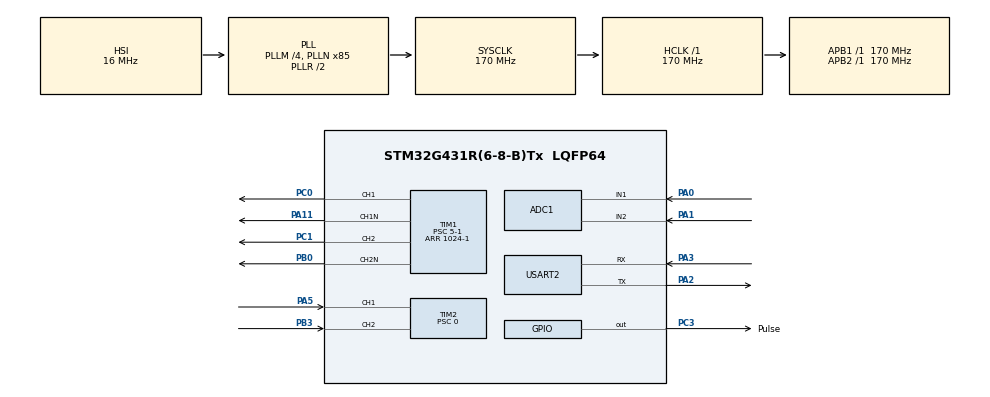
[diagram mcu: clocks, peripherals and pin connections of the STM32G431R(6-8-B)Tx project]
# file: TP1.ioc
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ADC1.Channel-6\#ChannelRegularConversion=ADC_CHANNEL_1
ADC1.ClockPrescaler=ADC_CLOCK_ASYNC_DIV8
ADC1.ExternalTrigConv=ADC_EXTERNALTRIG_T1_TRGO2
ADC1.NbrOfConversion=1
ADC1.NbrOfConversionFlag=1
ADC1.OffsetNumber-6\#ChannelRegularConversion=ADC_OFFSET_NONE
ADC1.Rank-6\#ChannelRegularConversion=1
ADC1.SamplingTime-6\#ChannelRegularConversion=ADC_SAMPLETIME_2CYCLES_5
ADC1.master=1
Dma.ADC1.0.Direction=DMA_PERIPH_TO_MEMORY
Dma.ADC1.0.EventEnable=DISABLE
Dma.ADC1.0.Instance=DMA1_Channel1
Dma.ADC1.0.MemDataAlignment=DMA_MDATAALIGN_HALFWORD
Dma.ADC1.0.MemInc=DMA_MINC_ENABLE
Dma.ADC1.0.Mode=DMA_NORMAL
Dma.ADC1.0.PeriphDataAlignment=DMA_PDATAALIGN_HALFWORD
Dma.ADC1.0.PeriphInc=DMA_PINC_DISABLE
Dma.ADC1.0.Polarity=HAL_DMAMUX_REQ_GEN_RISING
Dma.ADC1.0.Priority=DMA_PRIORITY_LOW
Dma.ADC1.0.RequestNumber=1
Dma.ADC1.0.SignalID=NONE
Dma.ADC1.0.SyncEnable=DISABLE
Dma.ADC1.0.SyncPolarity=HAL_DMAMUX_SYNC_NO_EVENT
Dma.ADC1.0.SyncRequestNumber=1
Dma.ADC1.0.SyncSignalID=NONE
Dma.Request0=ADC1
Mcu.Family=STM32G4
Mcu.Name=STM32G431R(6-8-B)Tx
Mcu.Package=LQFP64
NVIC.DMA1_Channel1_IRQn=true\:0\:0\:false\:false\:true\:false\:true
NVIC.PriorityGroup=NVIC_PRIORITYGROUP_4
NVIC.TIM2_IRQn=true\:0\:0\:false\:false\:true\:true\:true
NVIC.TIM4_IRQn=true\:0\:0\:false\:false\:true\:true\:true
NVIC.USART2_IRQn=true\:0\:0\:false\:false\:true\:true\:true
PA0.Mode=IN1-Single-Ended
PA0.Signal=ADC1_IN1
PA1.Mode=IN2-Single-Ended
PA1.Signal=ADC1_IN2
PA11.Mode=PWM Generation1 CH1 CH1N
PA11.Signal=TIM1_CH1N
PA13.Mode=Serial_Wire
PA13.Signal=SYS_JTMS-SWDIO
PA14.Mode=Serial_Wire
PA14.Signal=SYS_JTCK-SWCLK
PA2.Mode=Asynchronous
PA2.Signal=USART2_TX
PA3.Mode=Asynchronous
PA3.Signal=USART2_RX
PA5.Signal=S_TIM2_CH1
PB0.Mode=PWM Generation2 CH2 CH2N
PB0.Signal=TIM1_CH2N
PB3.Signal=S_TIM2_CH2
PC0.Signal=S_TIM1_CH1
PC1.Signal=S_TIM1_CH2
PC3.GPIO_Label=Pulse
PC3.Signal=GPIO_Output
PF0-OSC_IN.Mode=HSE-External-Oscillator
PF0-OSC_IN.Signal=RCC_OSC_IN
PF1-OSC_OUT.Mode=HSE-External-Oscillator
PF1-OSC_OUT.Signal=RCC_OSC_OUT
ProjectManager.HeapSize=0x200
ProjectManager.StackSize=0x400
ProjectManager.TargetToolchain=STM32CubeIDE
RCC.ADC12Freq_Value=170000000
RCC.AHBFreq_Value=170000000
RCC.APB1Freq_Value=170000000
RCC.APB1TimFreq_Value=170000000
RCC.APB2Freq_Value=170000000
RCC.APB2TimFreq_Value=170000000
RCC.CortexFreq_Value=170000000
RCC.EXTERNAL_CLOCK_VALUE=12288000
RCC.HCLKFreq_Value=170000000
RCC.HSE_VALUE=24000000
RCC.HSI48_VALUE=48000000
RCC.HSI_VALUE=16000000
RCC.LSE_VALUE=32768
RCC.PLLM=RCC_PLLM_DIV4
RCC.PLLN=85
RCC.RTCClockSelection=RCC_RTCCLKSOURCE_LSE
RCC.SYSCLKFreq_VALUE=170000000
RCC.SYSCLKSource=RCC_SYSCLKSOURCE_PLLCLK
RCC.USBFreq_Value=170000000
RCC.VCOOutputFreq_Value=340000000
SH.S_TIM1_CH1.0=TIM1_CH1,PWM Generation1 CH1 CH1N
SH.S_TIM1_CH2.0=TIM1_CH2,PWM Generation2 CH2 CH2N
SH.S_TIM2_CH1.0=TIM2_CH1,Encoder_Interface
SH.S_TIM2_CH2.0=TIM2_CH2,Encoder_Interface
TIM1.Channel-PWM\ Generation1\ CH1\ CH1N=TIM_CHANNEL_1
TIM1.Channel-PWM\ Generation2\ CH2\ CH2N=TIM_CHANNEL_2
TIM1.CounterMode=TIM_COUNTERMODE_CENTERALIGNED1
TIM1.DeadTime=203
TIM1.PeriodNoDither=1024-1
TIM1.Prescaler=5-1
TIM1.PulseNoDither_1=532
TIM1.PulseNoDither_2=492
TIM1.TIM_MasterOutputTrigger=TIM_TRGO_UPDATE
TIM1.TIM_MasterSlaveMode=TIM_MASTERSLAVEMODE_ENABLE
TIM2.AutoReloadPreload=TIM_AUTORELOAD_PRELOAD_ENABLE
TIM2.EncoderMode=TIM_ENCODERMODE_TI12
TIM2.PeriodNoDither=65535
TIM2.Prescaler=0
TIM4.PeriodNoDither=1000-1
TIM4.Prescaler=170-1
USART2.VirtualMode-Asynchronous=VM_ASYNC
VP_SYS_VS_DBSignals.Mode=DisableDeadBatterySignals
VP_TIM4_VS_ClockSourceINT.Mode=Internal
board=NUCLEO-G431RB

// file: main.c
/* USER CODE BEGIN Header */
/**
  ******************************************************************************
  * @file           : main.c
  * @brief          : Main program body
  ******************************************************************************
  * @attention
  *
  * <h2><center>&copy; Copyright (c) 2021 STMicroelectronics.
  * All rights reserved.</center></h2>
  *
  * This software component is licensed by ST under BSD 3-Clause license,
  * the "License"; You may not use this file except in compliance with the
  * License. You may obtain a copy of the License at:
  *                        opensource.org/licenses/BSD-3-Clause
  *
  ******************************************************************************
  */
/* USER CODE END Header */
#include "main.h"

/* USER CODE BEGIN Includes */
#include <stdio.h>

#include "fonction.h"
/* USER CODE END Includes */

/* USER CODE BEGIN PTD */
#define ADC_BUF_SIZE 2 //on définie la taille maximale du buffer du ADC.
/* USER CODE END PTD */

ADC_HandleTypeDef hadc1;
DMA_HandleTypeDef hdma_adc1;

TIM_HandleTypeDef htim1;
TIM_HandleTypeDef htim2;
TIM_HandleTypeDef htim4;

UART_HandleTypeDef huart2;

/* USER CODE BEGIN PV */

uint16_t ADC_buffer[ADC_BUF_SIZE]; //on définie le buffer du ADC

char uart_rx_echo; //la variable uart_tx_echo contient le caractère de réception pour l'écho
const uint8_t starting_message[] = "Hello in your console \r\n"; //On stocke le message de démarrage dans la liste starting_message
const uint8_t prompt[]="<user>@Nucleo-G431 >> "; //cela affiche le prompt après chaque instruction
int it_uart_rx_ready; //on définie le flag qui vaut 1 dès qu'on entre un caractère sur clavier
int idxCmd = 0; //contient l'index du prochain caractère à remplir dans le tableau cmd
char cmd[CMD_BUFFER_SIZE]; //on initialise le tableau <<cmd>> contenant les chaines de caractère à afficher

//Pour calculer la vitesse de rotation, on a besoin de la position actuelle et de la position précédente
int16_t speed = 0; //vitesse
int16_t position = 0; //la position actuelle
int16_t old_position = 0; //la position à l'instant précédent
/* USER CODE END PV */

void SystemClock_Config(void);
static void MX_GPIO_Init(void);
static void MX_USART2_UART_Init(void);
static void MX_TIM1_Init(void);
static void MX_DMA_Init(void);
static void MX_ADC1_Init(void);
static void MX_TIM2_Init(void);
static void MX_TIM4_Init(void);

int main(void)
{
  /* USER CODE BEGIN 1 */
	uint16_t raw;
	char msg[32];
  /* USER CODE END 1 */

  /* MCU Configuration--------------------------------------------------------*/

  /* Reset of all peripherals, Initializes the Flash interface and the Systick. */
  HAL_Init();

  /* Configure the system clock */
  SystemClock_Config();

  /* Initialize all configured peripherals */
  MX_GPIO_Init();
  MX_USART2_UART_Init();
  MX_TIM1_Init();
  MX_DMA_Init();
  MX_ADC1_Init();
  MX_TIM2_Init();
  MX_TIM4_Init();
  /* USER CODE BEGIN 2 */

  //démarrer l'encodeur:
  //on utilise TIM_CHANNEL_ALL car on a deux channels
  HAL_TIM_Encoder_Start(&htim2, TIM_CHANNEL_ALL);

  //on calibre le ADC:
  if(HAL_OK != HAL_ADCEx_Calibration_Start(&hadc1, ADC_SINGLE_ENDED ))
  	  Error_Handler();
  //démarrer le ADC
  if(HAL_OK != HAL_ADC_Start_DMA(&hadc1, ADC_buffer , ADC_BUF_SIZE))
	  Error_Handler();
  if(HAL_OK != HAL_TIM_Base_Start(&htim1))
	  Error_Handler();

  //On affiche le message de démarrage lorsqu'on ouvre la console:
  HAL_UART_Transmit(&huart2, &starting_message, sizeof(starting_message), HAL_MAX_DELAY);
  HAL_UART_Receive_IT(&huart2, &uart_rx_echo, 1); //autoriser les interruptions et mettre la variable dans huart_rx_echo

  //démarrer la PWM:
  HAL_TIM_PWM_Start(&htim1, TIM_CHANNEL_1);
  HAL_TIM_PWM_Start(&htim1, TIM_CHANNEL_2);
  HAL_TIMEx_PWMN_Start(&htim1, TIM_CHANNEL_1);
  HAL_TIMEx_PWMN_Start(&htim1, TIM_CHANNEL_2);

  //régler le rapport cyclique du moteur:
  double alpha = 0.5;
  TIM1->CCR1 = (int)(alpha*1024);
  TIM1->CCR2 = (int)((1-alpha)*1024);

  /* USER CODE END 2 */

  /* Infinite loop */
  /* USER CODE BEGIN WHILE */
  while (1)
  {
	 /*On vérifie si un caractère est envoyé à la carte
	 Si c'est le cas, alors on peut entrer dans la condition if
	 car le flag est mis à 1 dans la fonction HAL_UART_RxCpltCallback*/
	 if(it_uart_rx_ready == 1){
		 gestion_shell(cmd, uart_rx_echo, &idxCmd, huart2); //on appelle notre fonction pour gérer le shell
		 //HAL_UART_Transmit(&huart2, cmd, sizeof(cmd), HAL_MAX_DELAY); //on envoie notre chaine de caractère à la console
		 it_uart_rx_ready = 0; //on remet notre flag à 0

	/*
	//test pour vérifier le fonctionnement du capteur Hall:
	double value = atoi(ADC_buffer); //on récupère notre buffer
	//12A/V with 2,5V = 0A ==> I(U) = 12,5A/V *U - 30A:
	double current = value * 12.5 -30; //on fait la conversion en ampère
	uint8_t data[32];
	sprintf(data, "courant = %d A\n\r", (int)current);
	//on affiche la valeur récupérée à la console:
	HAL_UART_Transmit(&huart2, data, sizeof(data), HAL_MAX_DELAY);
	 */
	 }
    /* USER CODE END WHILE */

  }
}

void SystemClock_Config(void)
{
  RCC_OscInitTypeDef RCC_OscInitStruct = {0};
  RCC_ClkInitTypeDef RCC_ClkInitStruct = {0};
  RCC_PeriphCLKInitTypeDef PeriphClkInit = {0};

  /** Configure the main internal regulator output voltage
  */
  HAL_PWREx_ControlVoltageScaling(PWR_REGULATOR_VOLTAGE_SCALE1_BOOST);
  /** Initializes the RCC Oscillators according to the specified parameters
  * in the RCC_OscInitTypeDef structure.
  */
  RCC_OscInitStruct.OscillatorType = RCC_OSCILLATORTYPE_HSI;
  RCC_OscInitStruct.HSIState = RCC_HSI_ON;
  RCC_OscInitStruct.HSICalibrationValue = RCC_HSICALIBRATION_DEFAULT;
  RCC_OscInitStruct.PLL.PLLState = RCC_PLL_ON;
  RCC_OscInitStruct.PLL.PLLSource = RCC_PLLSOURCE_HSI;
  RCC_OscInitStruct.PLL.PLLM = RCC_PLLM_DIV4;
  RCC_OscInitStruct.PLL.PLLN = 85;
  RCC_OscInitStruct.PLL.PLLP = RCC_PLLP_DIV2;
  RCC_OscInitStruct.PLL.PLLQ = RCC_PLLQ_DIV2;
  RCC_OscInitStruct.PLL.PLLR = RCC_PLLR_DIV2;
  if (HAL_RCC_OscConfig(&RCC_OscInitStruct) != HAL_OK)
  {
    Error_Handler();
  }
  /** Initializes the CPU, AHB and APB buses clocks
  */
  RCC_ClkInitStruct.ClockType = RCC_CLOCKTYPE_HCLK|RCC_CLOCKTYPE_SYSCLK
                              |RCC_CLOCKTYPE_PCLK1|RCC_CLOCKTYPE_PCLK2;
  RCC_ClkInitStruct.SYSCLKSource = RCC_SYSCLKSOURCE_PLLCLK;
  RCC_ClkInitStruct.AHBCLKDivider = RCC_SYSCLK_DIV1;
  RCC_ClkInitStruct.APB1CLKDivider = RCC_HCLK_DIV1;
  RCC_ClkInitStruct.APB2CLKDivider = RCC_HCLK_DIV1;

  if (HAL_RCC_ClockConfig(&RCC_ClkInitStruct, FLASH_LATENCY_4) != HAL_OK)
  {
    Error_Handler();
  }
  /** Initializes the peripherals clocks
  */
  PeriphClkInit.PeriphClockSelection = RCC_PERIPHCLK_USART2|RCC_PERIPHCLK_ADC12;
  PeriphClkInit.Usart2ClockSelection = RCC_USART2CLKSOURCE_PCLK1;
  PeriphClkInit.Adc12ClockSelection = RCC_ADC12CLKSOURCE_SYSCLK;
  if (HAL_RCCEx_PeriphCLKConfig(&PeriphClkInit) != HAL_OK)
  {
    Error_Handler();
  }
}

static void MX_ADC1_Init(void)
{

  ADC_MultiModeTypeDef multimode = {0};
  ADC_ChannelConfTypeDef sConfig = {0};

  /** Common config
  */
  hadc1.Instance = ADC1;
  hadc1.Init.ClockPrescaler = ADC_CLOCK_ASYNC_DIV8;
  hadc1.Init.Resolution = ADC_RESOLUTION_12B;
  hadc1.Init.DataAlign = ADC_DATAALIGN_RIGHT;
  hadc1.Init.GainCompensation = 0;
  hadc1.Init.ScanConvMode = ADC_SCAN_DISABLE;
  hadc1.Init.EOCSelection = ADC_EOC_SINGLE_CONV;
  hadc1.Init.LowPowerAutoWait = DISABLE;
  hadc1.Init.ContinuousConvMode = DISABLE;
  hadc1.Init.NbrOfConversion = 1;
  hadc1.Init.DiscontinuousConvMode = DISABLE;
  hadc1.Init.ExternalTrigConv = ADC_EXTERNALTRIG_T1_TRGO2;
  hadc1.Init.ExternalTrigConvEdge = ADC_EXTERNALTRIGCONVEDGE_RISING;
  hadc1.Init.DMAContinuousRequests = DISABLE;
  hadc1.Init.Overrun = ADC_OVR_DATA_PRESERVED;
  hadc1.Init.OversamplingMode = DISABLE;
  if (HAL_ADC_Init(&hadc1) != HAL_OK)
  {
    Error_Handler();
  }
  /** Configure the ADC multi-mode
  */
  multimode.Mode = ADC_MODE_INDEPENDENT;
  if (HAL_ADCEx_MultiModeConfigChannel(&hadc1, &multimode) != HAL_OK)
  {
    Error_Handler();
  }
  /** Configure Regular Channel
  */
  sConfig.Channel = ADC_CHANNEL_1;
  sConfig.Rank = ADC_REGULAR_RANK_1;
  sConfig.SamplingTime = ADC_SAMPLETIME_2CYCLES_5;
  sConfig.SingleDiff = ADC_SINGLE_ENDED;
  sConfig.OffsetNumber = ADC_OFFSET_NONE;
  sConfig.Offset = 0;
  if (HAL_ADC_ConfigChannel(&hadc1, &sConfig) != HAL_OK)
  {
    Error_Handler();
  }

}

static void MX_TIM1_Init(void)
{

  TIM_MasterConfigTypeDef sMasterConfig = {0};
  TIM_OC_InitTypeDef sConfigOC = {0};
  TIM_BreakDeadTimeConfigTypeDef sBreakDeadTimeConfig = {0};

  htim1.Instance = TIM1;
  htim1.Init.Prescaler = 5-1;
  htim1.Init.CounterMode = TIM_COUNTERMODE_CENTERALIGNED1;
  htim1.Init.Period = 1023;
  htim1.Init.ClockDivision = TIM_CLOCKDIVISION_DIV1;
  htim1.Init.RepetitionCounter = 0;
  htim1.Init.AutoReloadPreload = TIM_AUTORELOAD_PRELOAD_DISABLE;
  if (HAL_TIM_PWM_Init(&htim1) != HAL_OK)
  {
    Error_Handler();
  }
  sMasterConfig.MasterOutputTrigger = TIM_TRGO_UPDATE;
  sMasterConfig.MasterOutputTrigger2 = TIM_TRGO2_RESET;
  sMasterConfig.MasterSlaveMode = TIM_MASTERSLAVEMODE_ENABLE;
  if (HAL_TIMEx_MasterConfigSynchronization(&htim1, &sMasterConfig) != HAL_OK)
  {
    Error_Handler();
  }
  sConfigOC.OCMode = TIM_OCMODE_PWM1;
  sConfigOC.Pulse = 532;
  sConfigOC.OCPolarity = TIM_OCPOLARITY_HIGH;
  sConfigOC.OCNPolarity = TIM_OCNPOLARITY_HIGH;
  sConfigOC.OCFastMode = TIM_OCFAST_DISABLE;
  sConfigOC.OCIdleState = TIM_OCIDLESTATE_RESET;
  sConfigOC.OCNIdleState = TIM_OCNIDLESTATE_RESET;
  if (HAL_TIM_PWM_ConfigChannel(&htim1, &sConfigOC, TIM_CHANNEL_1) != HAL_OK)
  {
    Error_Handler();
  }
  sConfigOC.Pulse = 492;
  if (HAL_TIM_PWM_ConfigChannel(&htim1, &sConfigOC, TIM_CHANNEL_2) != HAL_OK)
  {
    Error_Handler();
  }
  sBreakDeadTimeConfig.OffStateRunMode = TIM_OSSR_DISABLE;
  sBreakDeadTimeConfig.OffStateIDLEMode = TIM_OSSI_DISABLE;
  sBreakDeadTimeConfig.LockLevel = TIM_LOCKLEVEL_OFF;
  sBreakDeadTimeConfig.DeadTime = 203;
  sBreakDeadTimeConfig.BreakState = TIM_BREAK_DISABLE;
  sBreakDeadTimeConfig.BreakPolarity = TIM_BREAKPOLARITY_HIGH;
  sBreakDeadTimeConfig.BreakFilter = 0;
  sBreakDeadTimeConfig.BreakAFMode = TIM_BREAK_AFMODE_INPUT;
  sBreakDeadTimeConfig.Break2State = TIM_BREAK2_DISABLE;
  sBreakDeadTimeConfig.Break2Polarity = TIM_BREAK2POLARITY_HIGH;
  sBreakDeadTimeConfig.Break2Filter = 0;
  sBreakDeadTimeConfig.Break2AFMode = TIM_BREAK_AFMODE_INPUT;
  sBreakDeadTimeConfig.AutomaticOutput = TIM_AUTOMATICOUTPUT_DISABLE;
  if (HAL_TIMEx_ConfigBreakDeadTime(&htim1, &sBreakDeadTimeConfig) != HAL_OK)
  {
    Error_Handler();
  }
  HAL_TIM_MspPostInit(&htim1);

}

static void MX_TIM2_Init(void)
{

  TIM_Encoder_InitTypeDef sConfig = {0};
  TIM_MasterConfigTypeDef sMasterConfig = {0};

  htim2.Instance = TIM2;
  htim2.Init.Prescaler = 0;
  htim2.Init.CounterMode = TIM_COUNTERMODE_UP;
  htim2.Init.Period = 65535;
  htim2.Init.ClockDivision = TIM_CLOCKDIVISION_DIV1;
  htim2.Init.AutoReloadPreload = TIM_AUTORELOAD_PRELOAD_ENABLE;
  sConfig.EncoderMode = TIM_ENCODERMODE_TI12;
  sConfig.IC1Polarity = TIM_ICPOLARITY_RISING;
  sConfig.IC1Selection = TIM_ICSELECTION_DIRECTTI;
  sConfig.IC1Prescaler = TIM_ICPSC_DIV1;
  sConfig.IC1Filter = 0;
  sConfig.IC2Polarity = TIM_ICPOLARITY_RISING;
  sConfig.IC2Selection = TIM_ICSELECTION_DIRECTTI;
  sConfig.IC2Prescaler = TIM_ICPSC_DIV1;
  sConfig.IC2Filter = 0;
  if (HAL_TIM_Encoder_Init(&htim2, &sConfig) != HAL_OK)
  {
    Error_Handler();
  }
  sMasterConfig.MasterOutputTrigger = TIM_TRGO_RESET;
  sMasterConfig.MasterSlaveMode = TIM_MASTERSLAVEMODE_DISABLE;
  if (HAL_TIMEx_MasterConfigSynchronization(&htim2, &sMasterConfig) != HAL_OK)
  {
    Error_Handler();
  }

}

static void MX_TIM4_Init(void)
{

  TIM_ClockConfigTypeDef sClockSourceConfig = {0};
  TIM_MasterConfigTypeDef sMasterConfig = {0};

  htim4.Instance = TIM4;
  htim4.Init.Prescaler = 170-1;
  htim4.Init.CounterMode = TIM_COUNTERMODE_UP;
  htim4.Init.Period = 999;
  htim4.Init.ClockDivision = TIM_CLOCKDIVISION_DIV1;
  htim4.Init.AutoReloadPreload = TIM_AUTORELOAD_PRELOAD_DISABLE;
  if (HAL_TIM_Base_Init(&htim4) != HAL_OK)
  {
    Error_Handler();
  }
  sClockSourceConfig.ClockSource = TIM_CLOCKSOURCE_INTERNAL;
  if (HAL_TIM_ConfigClockSource(&htim4, &sClockSourceConfig) != HAL_OK)
  {
    Error_Handler();
  }
  sMasterConfig.MasterOutputTrigger = TIM_TRGO_RESET;
  sMasterConfig.MasterSlaveMode = TIM_MASTERSLAVEMODE_DISABLE;
  if (HAL_TIMEx_MasterConfigSynchronization(&htim4, &sMasterConfig) != HAL_OK)
  {
    Error_Handler();
  }

}

static void MX_USART2_UART_Init(void)
{

  huart2.Instance = USART2;
  huart2.Init.BaudRate = 115200;
  huart2.Init.WordLength = UART_WORDLENGTH_8B;
  huart2.Init.StopBits = UART_STOPBITS_1;
  huart2.Init.Parity = UART_PARITY_NONE;
  huart2.Init.Mode = UART_MODE_TX_RX;
  huart2.Init.HwFlowCtl = UART_HWCONTROL_NONE;
  huart2.Init.OverSampling = UART_OVERSAMPLING_16;
  huart2.Init.OneBitSampling = UART_ONE_BIT_SAMPLE_DISABLE;
  huart2.Init.ClockPrescaler = UART_PRESCALER_DIV1;
  huart2.AdvancedInit.AdvFeatureInit = UART_ADVFEATURE_NO_INIT;
  if (HAL_UART_Init(&huart2) != HAL_OK)
  {
    Error_Handler();
  }
  if (HAL_UARTEx_SetTxFifoThreshold(&huart2, UART_TXFIFO_THRESHOLD_1_8) != HAL_OK)
  {
    Error_Handler();
  }
  if (HAL_UARTEx_SetRxFifoThreshold(&huart2, UART_RXFIFO_THRESHOLD_1_8) != HAL_OK)
  {
    Error_Handler();
  }
  if (HAL_UARTEx_DisableFifoMode(&huart2) != HAL_OK)
  {
    Error_Handler();
  }

}

static void MX_DMA_Init(void)
{

  /* DMA controller clock enable */
  __HAL_RCC_DMAMUX1_CLK_ENABLE();
  __HAL_RCC_DMA1_CLK_ENABLE();

  /* DMA interrupt init */
  /* DMA1_Channel1_IRQn interrupt configuration */
  HAL_NVIC_SetPriority(DMA1_Channel1_IRQn, 0, 0);
  HAL_NVIC_EnableIRQ(DMA1_Channel1_IRQn);

}

static void MX_GPIO_Init(void)
{
  GPIO_InitTypeDef GPIO_InitStruct = {0};

  /* GPIO Ports Clock Enable */
  __HAL_RCC_GPIOF_CLK_ENABLE();
  __HAL_RCC_GPIOC_CLK_ENABLE();
  __HAL_RCC_GPIOA_CLK_ENABLE();
  __HAL_RCC_GPIOB_CLK_ENABLE();

  /*Configure GPIO pin Output Level */
  HAL_GPIO_WritePin(Pulse_GPIO_Port, Pulse_Pin, GPIO_PIN_RESET);

  /*Configure GPIO pin : Pulse_Pin */
  GPIO_InitStruct.Pin = Pulse_Pin;
  GPIO_InitStruct.Mode = GPIO_MODE_OUTPUT_PP;
  GPIO_InitStruct.Pull = GPIO_NOPULL;
  GPIO_InitStruct.Speed = GPIO_SPEED_FREQ_LOW;
  HAL_GPIO_Init(Pulse_GPIO_Port, &GPIO_InitStruct);

}

/* USER CODE BEGIN 4 */

/**
 * \fn void HAL_TIM_PeriodElapsedCallback(TIM_HandleTypeDef *htim)
 * \brief Fonction pour calculer la vitesse de rotation du moteur. Cette interruption est appelée 1000 fois par seconde
 *
 * \param TIM_HandleTypeDef *htim
 * \return Ne renvoie rien
 */
void HAL_TIM_PeriodElapsedCallback(TIM_HandleTypeDef *htim){
	 //On va brancher l'encodeur sur PB3 et PB0 de notre carte
	 /*On a 1024 positions pour un tour. Comme on compte pour chaque front montant et chaque front descendant,
	  on va mesurer au total 4096 positions.
	  Il faut donc diviser la position par 4096 pour incrémenter une fois par rotation complète.
	  On fait la conversion en vitesse en calibrant le Timer4 de telle manière qu'il génère une interruption chaques
	  milliseconde. Il faut donc multiplier l'écart entre la position par 1000 pour avoir la vitesse de rotation en seconde.
	  D'abord on teste si l'interruption vient du Timer4*/
	if (&htim == &htim4){
		  position = TIM2->CNT;
		  position = (int16_t) position/4096;
		  speed = 1000*(position - old_position);
		  old_position = position;
	}
}

void HAL_ADC_Conversion_Complete_Callback(ADC_HandleTypeDef* hadc){
	if(HAL_ADC_Stop_DMA(&hadc1) != HAL_OK)
		Error_Handler();
}

/**
 * \fn void HAL_UART_RxCpltCallback(UART_HandleTypeDef *UartHandle)
 * \brief Notre fonction d'interruption met le flag à 1 lorsqu'une interruption a eu lieu. Cela déclenche le traitement du caractère qu'on veut traiter
 *
 * \param UART_HandleTypeDef *UartHandle)
 * \return Ne renvoie rien
 */
void HAL_UART_RxCpltCallback(UART_HandleTypeDef *UartHandle){
	it_uart_rx_ready = 1;
	HAL_UART_Receive_IT(&huart2, &uart_rx_echo, 1); //réautoriser les interruptions et mettre la variable dans huart_rx_echo
}

/* USER CODE END 4 */

void Error_Handler(void)
{
  __disable_irq();
  while (1)
  {
  }
}

/************************ (C) COPYRIGHT STMicroelectronics *****END OF FILE****/
